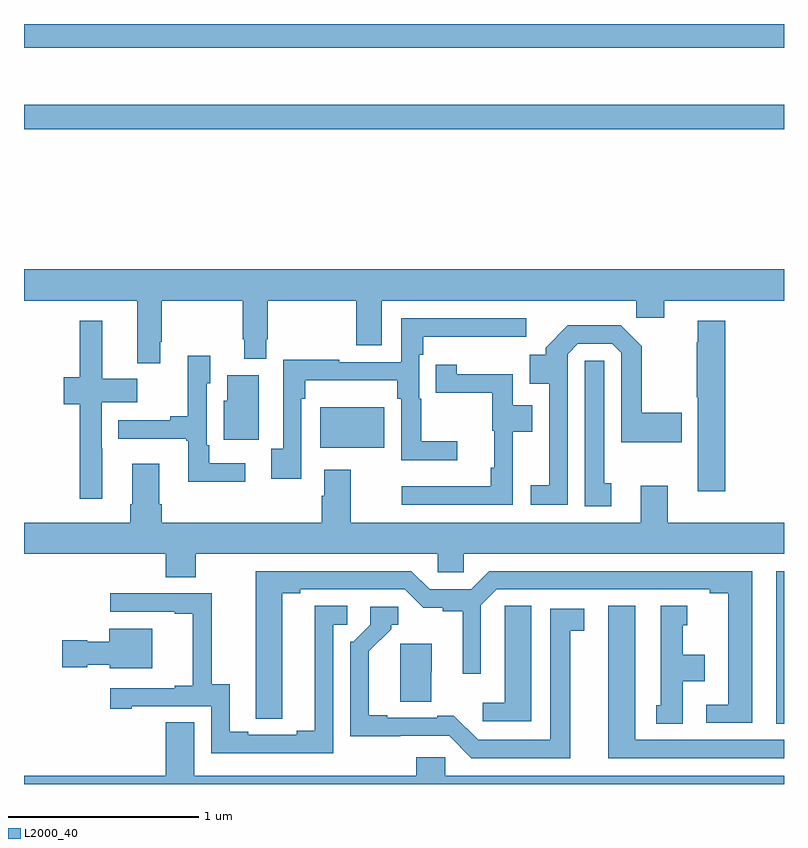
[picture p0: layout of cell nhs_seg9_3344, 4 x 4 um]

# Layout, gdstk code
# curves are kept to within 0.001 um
import gdstk
lib = gdstk.Library(unit=1e-6, precision=1e-09)
def R(c, l, rs):  # rectangles x0, y0, x1, y1
    for r in rs: c.add(gdstk.rectangle(r[:2], r[2:], *l))
def P(c, l, *ps):  # polygons
    for p in ps: c.add(gdstk.Polygon(p, *l))
L2000_40 = (2000, 40)

nhs_seg9_3344 = lib.new_cell('nhs_seg9_3344')
R(nhs_seg9_3344, L2000_40, [(304.958,1236.817,305,1237.62), (302.558,1238.27,302.896,1238.482), (301,1239.946,305,1240.075), (301,1240.376,305,1240.5)])
P(nhs_seg9_3344, L2000_40, [(301.717,1238.827),(301.725,1238.827),(301.725,1239.044),(302.152,1239.044),(302.152,1238.842),(302.159,1238.842),(302.159,1238.737),(302.275,1238.737),(302.275,1238.842),(302.283,1238.842),(302.283,1239.044),(302.749,1239.044),(302.749,1238.808),(302.884,1238.808),(302.884,1239.044),(304.222,1239.044),(304.222,1238.954),(304.369,1238.954),(304.369,1239.044),(305,1239.044),(305,1239.208),(301,1239.208),(301,1239.044),(301.595,1239.044),(301.595,1238.715),(301.717,1238.715)],
  [(302.46,1238.528),(302.48,1238.528),(302.48,1238.624),(302.965,1238.624),(302.965,1238.528),(302.985,1238.528),(302.985,1238.204),(303.28,1238.204),(303.28,1238.304),(303.091,1238.304),(303.091,1238.528),(303.081,1238.528),(303.081,1238.759),(303.101,1238.759),(303.101,1238.855),(303.643,1238.855),(303.643,1238.952),(302.985,1238.952),(302.985,1238.721),(302.66,1238.721),(302.66,1238.734),(302.364,1238.734),(302.364,1238.265),(302.301,1238.265),(302.301,1238.106),(302.46,1238.106)],
  [(301.411,1238.267),(301.41,1238.267),(301.41,1238.51),(301.595,1238.51),(301.595,1238.632),(301.412,1238.632),(301.412,1238.938),(301.294,1238.938),(301.294,1238.64),(301.208,1238.64),(301.208,1238.498),(301.294,1238.498),(301.294,1238.001),(301.411,1238.001)],
  [(304.691,1238.938),(304.547,1238.938),(304.547,1238.825),(304.54,1238.825),(304.54,1238.536),(304.547,1238.536),(304.547,1238.04),(304.691,1238.04)],
  [(303.861,1238.763),(303.915,1238.817),(304.095,1238.817),(304.143,1238.769),(304.143,1238.3),(304.462,1238.3),(304.462,1238.453),(304.252,1238.453),(304.252,1238.804),(304.142,1238.914),(303.862,1238.914),(303.745,1238.797),(303.745,1238.758),(303.662,1238.758),(303.662,1238.606),(303.765,1238.606),(303.765,1238.072),(303.666,1238.072),(303.666,1237.971),(303.861,1237.971)],
  [(302.164,1238.187),(301.975,1238.187),(301.975,1238.284),(301.962,1238.284),(301.962,1238.61),(301.981,1238.61),(301.981,1238.755),(301.861,1238.755),(301.861,1238.435),(301.769,1238.435),(301.769,1238.415),(301.495,1238.415),(301.495,1238.318),(301.854,1238.318),(301.854,1238.307),(301.865,1238.307),(301.865,1238.09),(302.164,1238.09)],
  [(304.09,1238.082),(304.054,1238.082),(304.054,1238.727),(303.95,1238.727),(303.95,1237.962),(304.09,1237.962)],
  [(303.573,1238.354),(303.676,1238.354),(303.676,1238.494),(303.573,1238.494),(303.573,1238.657),(303.277,1238.657),(303.277,1238.707),(303.166,1238.707),(303.166,1238.558),(303.465,1238.558),(303.465,1238.358),(303.476,1238.358),(303.476,1238.164),(303.457,1238.164),(303.457,1238.068),(302.988,1238.068),(302.988,1237.971),(303.573,1237.971)],
  [(302.235,1238.416),(302.236,1238.416),(302.236,1238.652),(302.069,1238.652),(302.069,1238.517),(302.051,1238.517),(302.051,1238.313),(302.235,1238.313)],
  [(301.905,1237.712),(303.177,1237.712),(303.177,1237.614),(303.315,1237.614),(303.315,1237.712),(305,1237.712),(305,1237.876),(304.387,1237.876),(304.387,1238.071),(304.247,1238.071),(304.247,1237.876),(302.719,1237.876),(302.719,1238.155),(302.579,1238.155),(302.579,1238.018),(302.567,1238.018),(302.567,1237.876),(301.724,1237.876),(301.724,1237.972),(301.711,1237.972),(301.711,1238.185),(301.571,1238.185),(301.571,1237.972),(301.559,1237.972),(301.559,1237.876),(301,1237.876),(301,1237.712),(301.745,1237.712),(301.745,1237.588),(301.905,1237.588)],
  [(304.834,1237.62),(303.449,1237.62),(303.353,1237.524),(303.135,1237.524),(303.039,1237.62),(302.219,1237.62),(302.22,1236.844),(302.359,1236.844),(302.359,1237.504),(302.455,1237.504),(302.455,1237.524),(303.003,1237.524),(303.101,1237.427),(303.204,1237.427),(303.204,1237.408),(303.308,1237.408),(303.308,1237.08),(303.405,1237.08),(303.405,1237.44),(303.489,1237.524),(304.61,1237.524),(304.61,1237.504),(304.706,1237.504),(304.706,1236.918),(304.59,1236.918),(304.59,1236.822),(304.834,1236.822)],
  [(302.628,1237.338),(302.701,1237.338),(302.701,1237.439),(302.531,1237.439),(302.531,1236.779),(302.435,1236.779),(302.435,1236.759),(302.179,1236.759),(302.179,1236.774),(302.083,1236.774),(302.083,1237.025),(301.989,1237.025),(301.989,1237.503),(301.455,1237.503),(301.455,1237.407),(301.793,1237.407),(301.793,1237.395),(301.889,1237.395),(301.889,1237.018),(301.793,1237.018),(301.793,1237.005),(301.455,1237.005),(301.455,1236.897),(301.567,1236.897),(301.567,1236.909),(301.986,1236.909),(301.986,1236.663),(302.628,1236.663)],
  [(303.67,1237.439),(303.531,1237.439),(303.531,1237.331),(303.53,1237.331),(303.53,1236.928),(303.414,1236.928),(303.414,1236.831),(303.67,1236.831)],
  [(305,1236.732),(304.216,1236.732),(304.216,1237.438),(304.076,1237.438),(304.076,1236.636),(305,1236.636)],
  [(304.468,1237.04),(304.582,1237.04),(304.582,1237.18),(304.468,1237.18),(304.468,1237.335),(304.492,1237.335),(304.492,1237.438),(304.352,1237.438),(304.352,1236.915),(304.328,1236.915),(304.328,1236.817),(304.468,1236.817)],
  [(303.874,1237.306),(303.949,1237.306),(303.949,1237.422),(303.77,1237.422),(303.77,1236.732),(303.39,1236.732),(303.262,1236.86),(303.176,1236.86),(303.176,1236.849),(302.911,1236.849),(302.911,1236.862),(302.815,1236.862),(302.815,1237.198),(302.932,1237.315),(302.932,1237.338),(302.971,1237.338),(302.971,1237.434),(302.823,1237.434),(302.823,1237.338),(302.733,1237.248),(302.718,1237.248),(302.718,1236.752),(303.237,1236.753),(303.354,1236.636),(303.874,1236.636)],
  [(301.675,1237.318),(301.448,1237.318),(301.448,1237.249),(301.332,1237.249),(301.332,1237.257),(301.2,1237.257),(301.2,1237.115),(301.332,1237.115),(301.332,1237.127),(301.452,1237.127),(301.452,1237.109),(301.675,1237.109)],
  [(303.144,1237.092),(303.145,1237.092),(303.145,1237.237),(302.981,1237.237),(302.981,1236.934),(303.144,1236.934)],
  [(305,1236.544),(303.216,1236.544),(303.216,1236.642),(303.065,1236.642),(303.065,1236.544),(301.897,1236.544),(301.897,1236.824),(301.745,1236.824),(301.745,1236.544),(301,1236.544),(301,1236.5),(305,1236.5)])

lib.write_gds('nhs_seg9_3344.gds')
